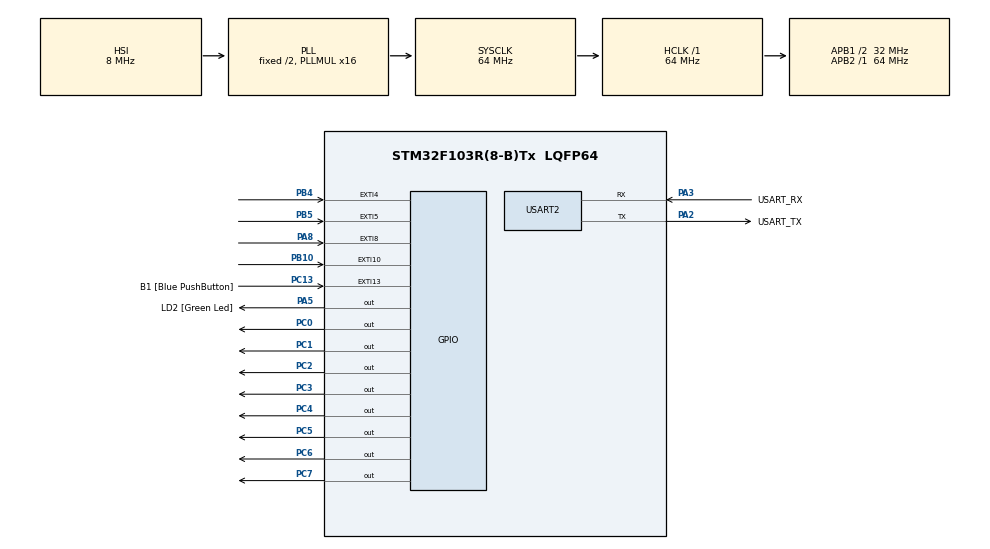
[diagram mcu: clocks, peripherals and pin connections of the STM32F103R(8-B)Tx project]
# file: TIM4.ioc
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Mcu.Family=STM32F1
Mcu.Name=STM32F103R(8-B)Tx
Mcu.Package=LQFP64
NVIC.EXTI15_10_IRQn=true\:0\:0\:false\:false\:true\:true\:true\:true
NVIC.EXTI4_IRQn=true\:0\:0\:false\:false\:true\:true\:true\:true
NVIC.EXTI9_5_IRQn=true\:0\:0\:false\:false\:true\:true\:true\:true
NVIC.PriorityGroup=NVIC_PRIORITYGROUP_4
NVIC.TIM3_IRQn=true\:0\:0\:false\:false\:true\:true\:true\:true
PA13.GPIO_Label=TMS
PA13.Mode=Serial_Wire
PA13.Signal=SYS_JTMS-SWDIO
PA14.GPIO_Label=TCK
PA14.Mode=Serial_Wire
PA14.Signal=SYS_JTCK-SWCLK
PA2.GPIO_Label=USART_TX
PA2.GPIO_Mode=GPIO_MODE_AF_PP
PA2.GPIO_PuPd=GPIO_NOPULL
PA2.GPIO_Speed=GPIO_SPEED_FREQ_LOW
PA2.Mode=Asynchronous
PA2.Signal=USART2_TX
PA3.GPIO_Label=USART_RX
PA3.GPIO_Mode=GPIO_MODE_AF_PP
PA3.GPIO_PuPd=GPIO_NOPULL
PA3.GPIO_Speed=GPIO_SPEED_FREQ_LOW
PA3.Mode=Asynchronous
PA3.Signal=USART2_RX
PA5.GPIO_Label=LD2 [Green Led]
PA5.GPIO_ModeDefaultOutputPP=GPIO_MODE_OUTPUT_PP
PA5.GPIO_PuPd=GPIO_NOPULL
PA5.GPIO_Speed=GPIO_SPEED_FREQ_LOW
PA5.Signal=GPIO_Output
PA8.Signal=GPXTI8
PB10.Signal=GPXTI10
PB3.GPIO_Label=SWO
PB3.Signal=SYS_JTDO-TRACESWO
PB4.Signal=GPXTI4
PB5.Signal=GPXTI5
PC0.Signal=GPIO_Output
PC1.Signal=GPIO_Output
PC13-TAMPER-RTC.GPIO_Label=B1 [Blue PushButton]
PC13-TAMPER-RTC.GPIO_PuPd=GPIO_NOPULL
PC13-TAMPER-RTC.Signal=GPXTI13
PC2.Signal=GPIO_Output
PC3.Signal=GPIO_Output
PC4.Signal=GPIO_Output
PC5.Signal=GPIO_Output
PC6.Signal=GPIO_Output
PC7.Signal=GPIO_Output
ProjectManager.HeapSize=0x200
ProjectManager.StackSize=0x400
ProjectManager.TargetToolchain=STM32CubeIDE
RCC.AHBFreq_Value=64000000
RCC.APB1CLKDivider=RCC_HCLK_DIV2
RCC.APB1Freq_Value=32000000
RCC.APB1TimFreq_Value=64000000
RCC.APB2Freq_Value=64000000
RCC.APB2TimFreq_Value=64000000
RCC.HCLKFreq_Value=64000000
RCC.PLLMUL=RCC_PLL_MUL16
RCC.RTCClockSelection=RCC_RTCCLKSOURCE_LSE
RCC.SYSCLKFreq_VALUE=64000000
RCC.SYSCLKSource=RCC_SYSCLKSOURCE_PLLCLK
RCC.USBFreq_Value=64000000
TIM3.Channel-Output\ Compare1\ No\ Output=TIM_CHANNEL_1
TIM3.OC1Preload=ENABLE
TIM3.OCPolarity_1=TIM_OCPOLARITY_LOW
TIM3.Period=10000-1
TIM3.Prescaler=6400-1
TIM3.Pulse-Output\ Compare1\ No\ Output=10000-1
USART2.VirtualMode=VM_ASYNC
VP_TIM3_VS_ClockSourceINT.Mode=Internal
VP_TIM3_VS_no_output1.Mode=Output Compare1 No Output
board=NUCLEO-F103RB

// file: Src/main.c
/* USER CODE BEGIN Header */
/**
 ******************************************************************************
 * @file           : main.c
 * @brief          : Main program body
 ******************************************************************************
 * @attention
 *
 * Copyright (c) 2024 STMicroelectronics.
 * All rights reserved.
 *
 * This software is licensed under terms that can be found in the LICENSE file
 * in the root directory of this software component.
 * If no LICENSE file comes with this software, it is provided AS-IS.
 *
 ******************************************************************************
 */
/* USER CODE END Header */
#include "main.h"

TIM_HandleTypeDef htim3;

UART_HandleTypeDef huart2;

void SystemClock_Config(void);
static void MX_GPIO_Init(void);
static void MX_TIM3_Init(void);
static void MX_USART2_UART_Init(void);
/* USER CODE BEGIN PFP */
void HAL_TIM_PeriodElapsedCallback(TIM_HandleTypeDef *htim);
void HAL_TIM_OC_DelayElapsedCallback(TIM_HandleTypeDef *htim);
void HAL_GPIO_EXTI_Callback(uint16_t GPIO_Pin);
/* USER CODE END PFP */

/* USER CODE BEGIN 0 */
TIM_OC_InitTypeDef	sConfigOC;		// 변수 정의 해줘야함
/* USER CODE END 0 */

int main(void) {

	/* MCU Configuration--------------------------------------------------------*/

	/* Reset of all peripherals, Initializes the Flash interface and the Systick. */
	HAL_Init();

	/* Configure the system clock */
	SystemClock_Config();

	/* Initialize all configured peripherals */
	MX_GPIO_Init();
	MX_TIM3_Init();
	MX_USART2_UART_Init();
	/* USER CODE BEGIN 2 */
	HAL_TIM_Base_Start_IT(&htim3);
	HAL_TIM_OC_Start_IT(&htim3, TIM_CHANNEL_1);
	/* USER CODE END 2 */

	/* Infinite loop */
	while (1) {

	}
}

void SystemClock_Config(void) {
	RCC_OscInitTypeDef RCC_OscInitStruct = { 0 };
	RCC_ClkInitTypeDef RCC_ClkInitStruct = { 0 };

	/** Initializes the RCC Oscillators according to the specified parameters
	 * in the RCC_OscInitTypeDef structure.
	 */
	RCC_OscInitStruct.OscillatorType = RCC_OSCILLATORTYPE_HSI;
	RCC_OscInitStruct.HSIState = RCC_HSI_ON;
	RCC_OscInitStruct.HSICalibrationValue = RCC_HSICALIBRATION_DEFAULT;
	RCC_OscInitStruct.PLL.PLLState = RCC_PLL_ON;
	RCC_OscInitStruct.PLL.PLLSource = RCC_PLLSOURCE_HSI_DIV2;
	RCC_OscInitStruct.PLL.PLLMUL = RCC_PLL_MUL16;
	if (HAL_RCC_OscConfig(&RCC_OscInitStruct) != HAL_OK) {
		Error_Handler();
	}

	/** Initializes the CPU, AHB and APB buses clocks
	 */
	RCC_ClkInitStruct.ClockType = RCC_CLOCKTYPE_HCLK | RCC_CLOCKTYPE_SYSCLK
			| RCC_CLOCKTYPE_PCLK1 | RCC_CLOCKTYPE_PCLK2;
	RCC_ClkInitStruct.SYSCLKSource = RCC_SYSCLKSOURCE_PLLCLK;
	RCC_ClkInitStruct.AHBCLKDivider = RCC_SYSCLK_DIV1;
	RCC_ClkInitStruct.APB1CLKDivider = RCC_HCLK_DIV2;
	RCC_ClkInitStruct.APB2CLKDivider = RCC_HCLK_DIV1;

	if (HAL_RCC_ClockConfig(&RCC_ClkInitStruct, FLASH_LATENCY_2) != HAL_OK) {
		Error_Handler();
	}
}

static void MX_TIM3_Init(void) {

	TIM_ClockConfigTypeDef sClockSourceConfig = { 0 };
	TIM_MasterConfigTypeDef sMasterConfig = { 0 };
	TIM_OC_InitTypeDef sConfigOC = { 0 };

	htim3.Instance = TIM3;
	htim3.Init.Prescaler = 0;
	htim3.Init.CounterMode = TIM_COUNTERMODE_UP;
	htim3.Init.Period = 9999;
	htim3.Init.ClockDivision = TIM_CLOCKDIVISION_DIV1;
	htim3.Init.AutoReloadPreload = TIM_AUTORELOAD_PRELOAD_DISABLE;
	if (HAL_TIM_Base_Init(&htim3) != HAL_OK) {
		Error_Handler();
	}
	sClockSourceConfig.ClockSource = TIM_CLOCKSOURCE_INTERNAL;
	if (HAL_TIM_ConfigClockSource(&htim3, &sClockSourceConfig) != HAL_OK) {
		Error_Handler();
	}
	if (HAL_TIM_OC_Init(&htim3) != HAL_OK) {
		Error_Handler();
	}
	sMasterConfig.MasterOutputTrigger = TIM_TRGO_RESET;
	sMasterConfig.MasterSlaveMode = TIM_MASTERSLAVEMODE_DISABLE;
	if (HAL_TIMEx_MasterConfigSynchronization(&htim3, &sMasterConfig)
			!= HAL_OK) {
		Error_Handler();
	}
	sConfigOC.OCMode = TIM_OCMODE_TIMING;
	sConfigOC.Pulse = 9999;
	sConfigOC.OCPolarity = TIM_OCPOLARITY_LOW;
	sConfigOC.OCFastMode = TIM_OCFAST_DISABLE;
	if (HAL_TIM_OC_ConfigChannel(&htim3, &sConfigOC, TIM_CHANNEL_1) != HAL_OK) {
		Error_Handler();
	}
	__HAL_TIM_ENABLE_OCxPRELOAD(&htim3, TIM_CHANNEL_1);

}

static void MX_USART2_UART_Init(void) {

	huart2.Instance = USART2;
	huart2.Init.BaudRate = 115200;
	huart2.Init.WordLength = UART_WORDLENGTH_8B;
	huart2.Init.StopBits = UART_STOPBITS_1;
	huart2.Init.Parity = UART_PARITY_NONE;
	huart2.Init.Mode = UART_MODE_TX_RX;
	huart2.Init.HwFlowCtl = UART_HWCONTROL_NONE;
	huart2.Init.OverSampling = UART_OVERSAMPLING_16;
	if (HAL_UART_Init(&huart2) != HAL_OK) {
		Error_Handler();
	}

}

static void MX_GPIO_Init(void) {
	GPIO_InitTypeDef GPIO_InitStruct = { 0 };

	/* GPIO Ports Clock Enable */
	__HAL_RCC_GPIOC_CLK_ENABLE();
	__HAL_RCC_GPIOA_CLK_ENABLE();
	__HAL_RCC_GPIOB_CLK_ENABLE();

	/*Configure GPIO pin Output Level */
	HAL_GPIO_WritePin(GPIOC,
			GPIO_PIN_0 | GPIO_PIN_1 | GPIO_PIN_2 | GPIO_PIN_3 | GPIO_PIN_4
					| GPIO_PIN_5 | GPIO_PIN_6 | GPIO_PIN_7, GPIO_PIN_RESET);

	/*Configure GPIO pin Output Level */
	HAL_GPIO_WritePin(LD2_GPIO_Port, LD2_Pin, GPIO_PIN_RESET);

	/*Configure GPIO pin : B1_Pin */
	GPIO_InitStruct.Pin = B1_Pin;
	GPIO_InitStruct.Mode = GPIO_MODE_IT_RISING;
	GPIO_InitStruct.Pull = GPIO_NOPULL;
	HAL_GPIO_Init(B1_GPIO_Port, &GPIO_InitStruct);

	/*Configure GPIO pins : PC0 PC1 PC2 PC3
	 PC4 PC5 PC6 PC7 */
	GPIO_InitStruct.Pin = GPIO_PIN_0 | GPIO_PIN_1 | GPIO_PIN_2 | GPIO_PIN_3
			| GPIO_PIN_4 | GPIO_PIN_5 | GPIO_PIN_6 | GPIO_PIN_7;
	GPIO_InitStruct.Mode = GPIO_MODE_OUTPUT_PP;
	GPIO_InitStruct.Pull = GPIO_NOPULL;
	GPIO_InitStruct.Speed = GPIO_SPEED_FREQ_LOW;
	HAL_GPIO_Init(GPIOC, &GPIO_InitStruct);

	/*Configure GPIO pin : LD2_Pin */
	GPIO_InitStruct.Pin = LD2_Pin;
	GPIO_InitStruct.Mode = GPIO_MODE_OUTPUT_PP;
	GPIO_InitStruct.Pull = GPIO_NOPULL;
	GPIO_InitStruct.Speed = GPIO_SPEED_FREQ_LOW;
	HAL_GPIO_Init(LD2_GPIO_Port, &GPIO_InitStruct);

	/*Configure GPIO pins : PB10 PB4 PB5 */
	GPIO_InitStruct.Pin = GPIO_PIN_10 | GPIO_PIN_4 | GPIO_PIN_5;
	GPIO_InitStruct.Mode = GPIO_MODE_IT_RISING;
	GPIO_InitStruct.Pull = GPIO_NOPULL;
	HAL_GPIO_Init(GPIOB, &GPIO_InitStruct);

	/*Configure GPIO pin : PA8 */
	GPIO_InitStruct.Pin = GPIO_PIN_8;
	GPIO_InitStruct.Mode = GPIO_MODE_IT_RISING;
	GPIO_InitStruct.Pull = GPIO_NOPULL;
	HAL_GPIO_Init(GPIOA, &GPIO_InitStruct);

	/* EXTI interrupt init*/
	HAL_NVIC_SetPriority(EXTI4_IRQn, 0, 0);
	HAL_NVIC_EnableIRQ(EXTI4_IRQn);

	HAL_NVIC_SetPriority(EXTI9_5_IRQn, 0, 0);
	HAL_NVIC_EnableIRQ(EXTI9_5_IRQn);

	HAL_NVIC_SetPriority(EXTI15_10_IRQn, 0, 0);
	HAL_NVIC_EnableIRQ(EXTI15_10_IRQn);

}

/* USER CODE BEGIN 4 */
void HAL_TIM_PeriodElapsedCallback(TIM_HandleTypeDef *htim) {		// LED ON 함수
	if (htim->Instance == TIM3) {
		HAL_GPIO_WritePin(GPIOC,
				GPIO_PIN_0 | GPIO_PIN_1 | GPIO_PIN_2 | GPIO_PIN_3 | GPIO_PIN_4
						| GPIO_PIN_5 | GPIO_PIN_6 | GPIO_PIN_7, GPIO_PIN_SET);
	}

}
void HAL_TIM_OC_DelayElapsedCallback(TIM_HandleTypeDef *htim) {		// LED OFF 함수
	if (htim->Instance == TIM3) {
		HAL_GPIO_WritePin(GPIOC,
				GPIO_PIN_0 | GPIO_PIN_1 | GPIO_PIN_2 | GPIO_PIN_3 | GPIO_PIN_4
						| GPIO_PIN_5 | GPIO_PIN_6 | GPIO_PIN_7, GPIO_PIN_RESET);
	}
}
void HAL_GPIO_EXTI_Callback(uint16_t GPIO_Pin) {					// 인터럽트
	if (GPIO_Pin == GPIO_PIN_8)
		sConfigOC.Pulse = 999;
	if (GPIO_Pin == GPIO_PIN_4)
		sConfigOC.Pulse = 2999;
	if (GPIO_Pin == GPIO_PIN_5)
		sConfigOC.Pulse = 4999;
	if (GPIO_Pin == GPIO_PIN_10)
		sConfigOC.Pulse = 9999;

	HAL_TIM_OC_ConfigChannel(&htim3, &sConfigOC, TIM_CHANNEL_1);
	// HAL_TIMEx_OCN_Start_IT(&htim3, TIM_CHANNEL_1);
}
/* USER CODE END 4 */

void Error_Handler(void) {
	__disable_irq();
	while (1) {
	}
}
